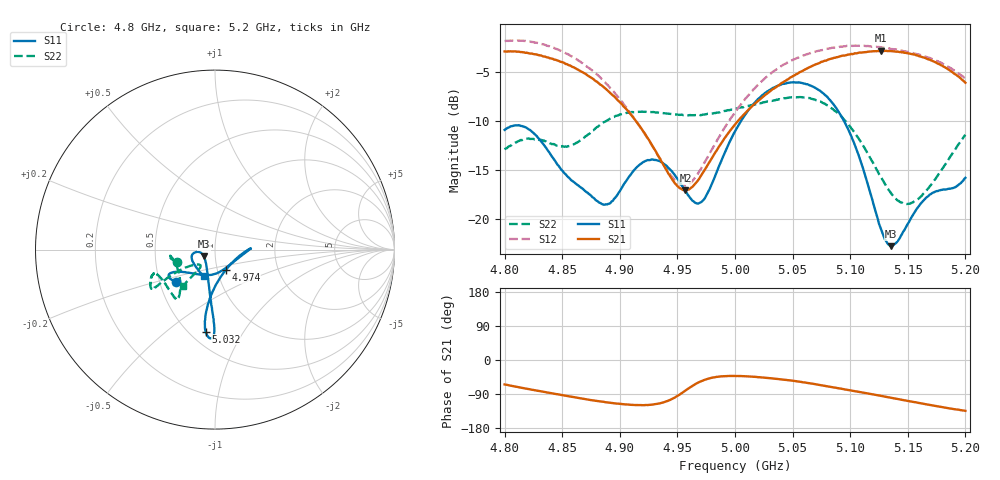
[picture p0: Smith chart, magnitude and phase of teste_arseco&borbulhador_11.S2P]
! Network Analyzer HP8722D
! Hewlett-Packard
! Data name: Linha & Wilkinson
! Saver's name: Rodrigo Anjos
! Comments: Teste da utilização de aquisição
! continua pelo VNA HP8722D
! Time and date: 15/4/2025 15:43
!  Frequency  S11  S21  S12  S22
# HZ  S  MA R 50
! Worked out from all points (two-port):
!   401 points, 4.8 GHz to 5.2 GHz, reference 50 ohm
!   highest |S21| = -2.89 dB at 5.127 GHz (marker M1); lowest = -17.1 dB at 4.957 GHz (marker M2)
!   |S21| within 3 dB of the highest: start of sweep to 4.878 GHz; 5.045 GHz to 5.198 GHz (152.9 MHz wide, 2.99 % of centre)
!   lowest |S11| = -22.8 dB at 5.135 GHz (marker M3), VSWR 1.16, Z = 44 - j3.23 ohm
!   |S11| at or under -10 dB: start of sweep to 5.005 GHz; 5.094 GHz to end of sweep
!   |S22| runs from -18.5 to -7.6 dB; largest |S21 - S12| = 1.5
!   S11 on the Smith chart (normalised r, x): 4.8 GHz: 0.61, -0.24; 4.974 GHz: 1.10, -0.25; 5.032 GHz: 0.60, -0.70; 5.2 GHz: 0.84, -0.26
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4.8e9  0.2833 -140.8  0.7119 -64.5  0.8037 126.6  0.2253 -161.4
4.823e9  0.2799 -152.1  0.6941 -78.0  0.7964 116.3  0.2548 -171.7
4.853e9  0.1681 -124.8  0.6136 -94.2  0.6971 104.4  0.233 -156.1
4.867e9  0.143 -99.1  0.5613 -101.8  0.6219 99.3  0.2534 -140.8
4.89e9  0.1189 -45.1  0.4464 -112.5  0.4764 91.4  0.3194 -128.1
4.916e9  0.1856 -1.5  0.3034 -119.2  0.3025 89.0  0.3501 -128.1
4.934e9  0.1966 1.7  0.2056 -114.9  0.207 96.8  0.3459 -132.5
4.957e9  0.1377 -15.9  0.1396 -80.5  0.1472 133.3  0.3371 -143.0
4.966e9  0.12 -37.8  0.1518 -62.8  0.1635 151.3  0.337 -147.6
4.974e9  0.1276 -61.7  0.1782 -52.0  0.1954 162.6  0.34 -151.4
5e9  0.2785 -96.3  0.3016 -42.1  0.3481 175.6  0.3636 -158.3
5.032e9  0.4599 -96.5  0.4533 -48.6  0.5558 171.8  0.3981 -153.7
5.067e9  0.4726 -90.7  0.6005 -62.5  0.7032 160.0  0.4075 -148.1
5.082e9  0.4052 -91.0  0.6498 -70.2  0.7377 153.7  0.3721 -148.0
5.097e9  0.2947 -94.2  0.6825 -78.5  0.7604 146.6  0.3095 -149.3
5.127e9  0.08736 -126.5  0.7172 -94.9  0.7467 131.4  0.1616 -146.2
5.134e9  0.07306 -146.7  0.7145 -98.8  0.7373 128.0  0.1383 -142.7
5.135e9  0.07231 -149.6  0.7159 -99.5  0.7342 127.7  0.1358 -141.8
5.147e9  0.08731 -170.8  0.7004 -106.4  0.7136 122.1  0.119 -134.4
5.159e9  0.1145 -171.9  0.6766 -113.1  0.6878 117.0  0.1259 -129.6
5.179e9  0.14 -155.8  0.605 -123.9  0.6238 109.6  0.1756 -130.1
5.2e9  0.1614 -113.3  0.4928 -134.1  0.5192 104.0  0.2674 -131.6
